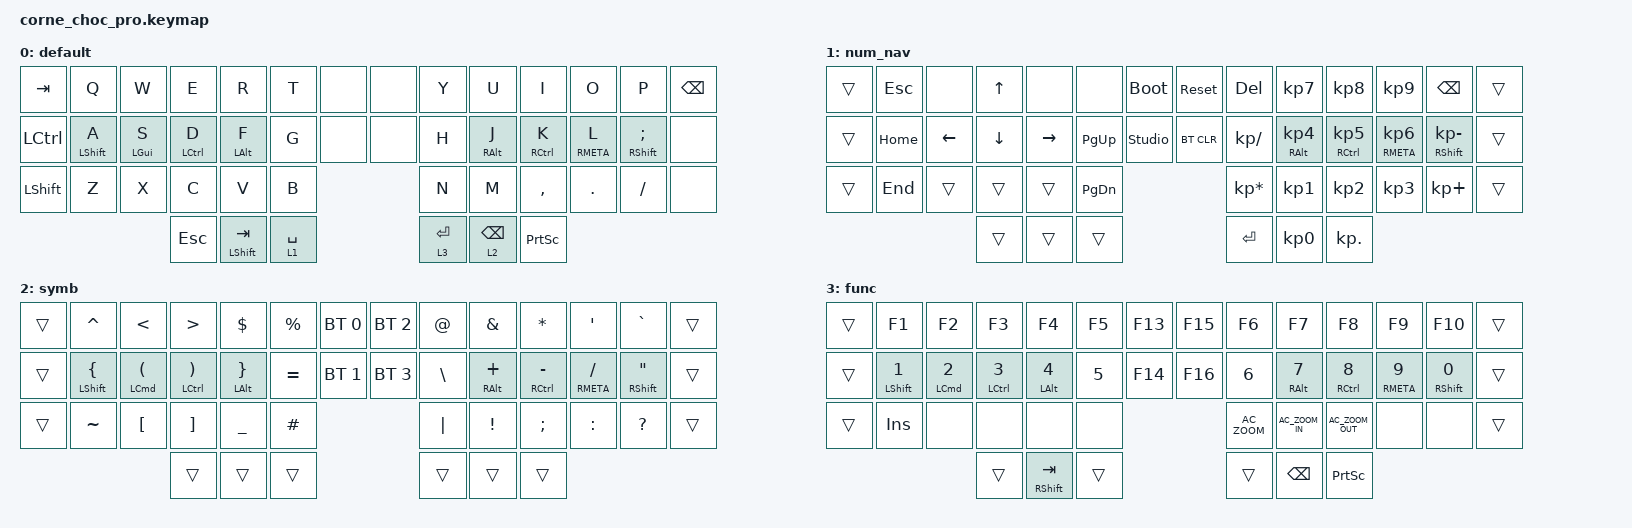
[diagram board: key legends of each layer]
/*
 * Copyright (c) 2020 The ZMK Contributors
 *
 * SPDX-License-Identifier: MIT
 */

#include <behaviors.dtsi>
#include <dt-bindings/zmk/bt.h>
#include <dt-bindings/zmk/keys.h>

/ {
    chosen { zmk,physical-layout = &default_layout; };
};

/ {
    behaviors {
        HMR_R: HMR_R {
            compatible = "zmk,behavior-hold-tap";
            label = "HMR_R";
            bindings = <&kp>, <&kp>;

            #binding-cells = <2>;
            tapping-term-ms = <280>;
            quick-tap-ms = <175>;
            flavor = "balanced";
            hold-trigger-key-positions = <0 14 28 29 15 1 2 16 30 3 4 5 6 17 18 19 20 31 32 33 40 41 42 43 44 45>;
            hold-trigger-on-release;
            require-prior-idle-ms = <265>;
        };

        HRM_L: HRM_L {
            compatible = "zmk,behavior-hold-tap";
            label = "HRM_L";
            bindings = <&kp>, <&kp>;

            #binding-cells = <2>;
            tapping-term-ms = <280>;
            quick-tap-ms = <175>;
            hold-trigger-on-release;
            hold-trigger-key-positions = <7 8 9 10 11 12 13 21 22 23 24 25 26 27 34 35 36 37 38 39 43 44 45 40 41 42>;
            flavor = "balanced";
            require-prior-idle-ms = <265>;
        };
    };

    combos {
        compatible = "zmk,combos";

        capsword {
            bindings = <&caps_word>;
            key-positions = <26 15>;
            layers = <0>;
        };
    };

    keymap {
        compatible = "zmk,keymap";

        default_layer {
            display-name = "default";

            // --------------------------------------------------------------------------------
            // |  TAB |  Q  |  W  |  E  |  R  |  T  |  MUTE |  PP   |  Y  |  U   |  I  |  O  |  P  | BSPC |
            // | CTRL |  A  |  S  |  D  |  F  |  G  |  LALT |  RALT |  H  |  J   |  K  |  L  |  ;  |  '   |
            // | SHFT |  Z  |  X  |  C  |  V  |  B  |               |  N  |  M   |  ,  |  .  |  /  | ESC  |
            //                    | GUI | LWR | SPC |               | ENT | RSE  | ALT |

            bindings = <
&kp TAB    &kp Q                &kp W              &kp E           &kp R               &kp T        &none  &none  &kp Y        &kp U               &kp I            &kp O           &kp P               &kp BSPC
&kp LCTRL  &HRM_L LEFT_SHIFT A  &HRM_L LEFT_GUI S  &HRM_L LCTRL D  &HRM_L LEFT_ALT F   &kp G        &none  &none  &kp H        &HMR_R RIGHT_ALT J  &HMR_R RCTRL K   &HMR_R RMETA L  &HMR_R RSHIFT SEMI  &none
&kp LSHFT  &kp Z                &kp X              &kp C           &kp V               &kp B                      &kp N        &kp M               &kp COMMA        &kp DOT         &kp FSLH            &none
                                                   &kp ESCAPE      &mt LEFT_SHIFT TAB  &lt 1 SPACE                &lt 3 ENTER  &lt 2 BACKSPACE     &kp PRINTSCREEN
            >;
        };

        num_nav {
            display-name = "num_nav";
            bindings = <
&trans  &kp ESC   &none     &kp UP_ARROW  &none      &none          &bootloader     &sys_reset  &kp DELETE       &kp KP_N7          &kp KP_NUMBER_8     &kp KP_N9           &kp BACKSPACE           &trans
&trans  &kp HOME  &kp LEFT  &kp DOWN      &kp RIGHT  &kp PAGE_UP    &studio_unlock  &bt BT_CLR  &kp KP_DIVIDE    &HMR_R RALT KP_N4  &HMR_R RCTRL KP_N5  &HMR_R RMETA KP_N6  &HMR_R RSHIFT KP_MINUS  &trans
&trans  &kp END   &trans    &trans        &trans     &kp PAGE_DOWN                              &kp KP_ASTERISK  &kp KP_N1          &kp KP_N2           &kp KP_N3           &kp KP_PLUS             &trans
                            &trans        &trans     &trans                                     &kp RET          &kp KP_NUMBER_0    &kp KP_DOT
            >;
        };

        symb {
            display-name = "symb";
            bindings = <
&trans  &kp CARET                     &kp LT                        &kp GREATER_THAN                &kp DLLR                     &kp PERCENT  &bt BT_SEL 0  &bt BT_SEL 2  &kp AT    &kp AMPS               &kp STAR                    &kp APOSTROPHE      &kp GRAVE          &trans
&trans  &HRM_L LEFT_SHIFT LEFT_BRACE  &HRM_L LCMD LEFT_PARENTHESIS  &HRM_L LCTRL RIGHT_PARENTHESIS  &HRM_L LEFT_ALT RIGHT_BRACE  &kp EQUAL    &bt BT_SEL 1  &bt BT_SEL 3  &kp BSLH  &HMR_R RIGHT_ALT PLUS  &HMR_R RIGHT_CONTROL MINUS  &HMR_R RMETA SLASH  &HMR_R RSHIFT DQT  &trans
&trans  &kp TILDE                     &kp LBKT                      &kp RBKT                        &kp UNDER                    &kp POUND                                &kp PIPE  &kp EXCL               &kp SEMI                    &kp COLON           &kp QUESTION       &trans
                                                                    &trans                          &trans                       &trans                                   &trans    &trans                 &trans
            >;
        };

        num_func {
            display-name = "func";
            bindings = <
&trans  &kp F1                  &kp F2                &kp F3                 &kp F4                &kp F5  &kp F13  &kp F15  &kp F6         &kp F7               &kp F8                   &kp F9           &kp F10           &trans
&trans  &HRM_L LSHIFT NUMBER_1  &HRM_L LCMD NUMBER_2  &HRM_L LCTRL NUMBER_3  &HRM_L LALT NUMBER_4  &kp N5  &kp F14  &kp F16  &kp N6         &HMR_R RIGHT_ALT N7  &HMR_R RIGHT_CONTROL N8  &HMR_R RMETA N9  &HMR_R RSHIFT N0  &trans
&trans  &kp INS                 &none                 &none                  &none                 &none                     &kp C_AC_ZOOM  &kp C_AC_ZOOM_IN     &kp C_AC_ZOOM_OUT        &none            &none             &trans
                                                      &trans                 &mt RSHIFT TAB        &trans                    &trans         &kp BACKSPACE        &kp PRINTSCREEN
            >;
        };
    };
};
